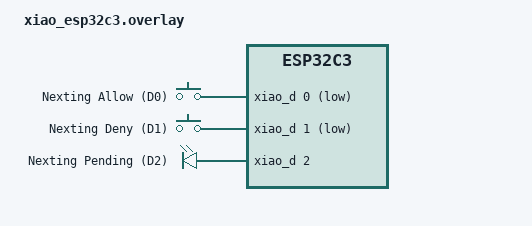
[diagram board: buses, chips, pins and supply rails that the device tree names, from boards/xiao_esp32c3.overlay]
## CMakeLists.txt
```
cmake_minimum_required(VERSION 3.20.0)

if(BOARD MATCHES "^xiao_ble")
  set(DTC_OVERLAY_FILE ${CMAKE_CURRENT_SOURCE_DIR}/boards/xiao_ble.overlay)
elseif(BOARD MATCHES "^xiao_esp32c3")
  set(DTC_OVERLAY_FILE ${CMAKE_CURRENT_SOURCE_DIR}/boards/xiao_esp32c3.overlay)
elseif(BOARD MATCHES "^xiao_esp32s3")
  set(DTC_OVERLAY_FILE ${CMAKE_CURRENT_SOURCE_DIR}/boards/xiao_esp32s3.overlay)
endif()

find_package(Zephyr REQUIRED HINTS $ENV{ZEPHYR_BASE})
project(nexting_device_reference)

target_sources(app PRIVATE
  src/main.c
  ${CMAKE_CURRENT_SOURCE_DIR}/../../sdk/c/src/nexting_device.c
)
target_include_directories(app PRIVATE
  ${CMAKE_CURRENT_SOURCE_DIR}/../../sdk/c/include
)
```

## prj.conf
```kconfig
CONFIG_GPIO=y
CONFIG_PRINTK=y
CONFIG_ASSERT=y
CONFIG_MAIN_STACK_SIZE=4096

CONFIG_BT=y
CONFIG_BT_PERIPHERAL=y
CONFIG_BT_DEVICE_NAME="Nexting-Device-Ref"
CONFIG_BT_MAX_CONN=1
CONFIG_BT_MAX_PAIRED=4
CONFIG_BT_SMP=y
CONFIG_BT_SMP_SC_ONLY=y
CONFIG_BT_BONDABLE=y
CONFIG_BT_BONDING_REQUIRED=y
CONFIG_BT_PRIVACY=y
CONFIG_BT_SETTINGS=y

CONFIG_SETTINGS=y
CONFIG_FLASH=y
CONFIG_FLASH_MAP=y
CONFIG_NVS=y
```

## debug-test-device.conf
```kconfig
# Developer-only bridge to the private App's DEBUG launch flag.
# Never ship a production authorization policy based on this advertised name.
CONFIG_BT_DEVICE_NAME="Nexting-Device-Sim"
```

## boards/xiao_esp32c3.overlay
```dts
#include <zephyr/dt-bindings/gpio/gpio.h>

/ {
	aliases {
		nexting-allow = &nexting_allow;
		nexting-deny = &nexting_deny;
		nexting-led = &nexting_led;
	};

	nexting_buttons {
		compatible = "gpio-keys";
		nexting_allow: allow_button {
			gpios = <&xiao_d 0 (GPIO_PULL_UP | GPIO_ACTIVE_LOW)>;
			label = "Nexting Allow (D0)";
		};
		nexting_deny: deny_button {
			gpios = <&xiao_d 1 (GPIO_PULL_UP | GPIO_ACTIVE_LOW)>;
			label = "Nexting Deny (D1)";
		};
	};

	nexting_leds {
		compatible = "gpio-leds";
		nexting_led: pending_led {
			gpios = <&xiao_d 2 GPIO_ACTIVE_HIGH>;
			label = "Nexting Pending (D2)";
		};
	};
};
```

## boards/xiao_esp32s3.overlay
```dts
#include <zephyr/dt-bindings/gpio/gpio.h>

/ {
	aliases {
		nexting-allow = &nexting_allow;
		nexting-deny = &nexting_deny;
		nexting-led = &led0;
	};

	nexting_buttons {
		compatible = "gpio-keys";
		nexting_allow: allow_button {
			gpios = <&xiao_d 0 (GPIO_PULL_UP | GPIO_ACTIVE_LOW)>;
			label = "Nexting Allow (D0)";
		};
		nexting_deny: deny_button {
			gpios = <&xiao_d 1 (GPIO_PULL_UP | GPIO_ACTIVE_LOW)>;
			label = "Nexting Deny (D1)";
		};
	};
};
```

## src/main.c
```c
#include <errno.h>
#include <stddef.h>
#include <stdint.h>
#include <string.h>

#include <zephyr/bluetooth/bluetooth.h>
#include <zephyr/bluetooth/conn.h>
#include <zephyr/bluetooth/gatt.h>
#include <zephyr/bluetooth/uuid.h>
#include <zephyr/device.h>
#include <zephyr/drivers/gpio.h>
#include <zephyr/kernel.h>
#include <zephyr/settings/settings.h>
#include <zephyr/sys/printk.h>
#include <zephyr/sys/util.h>

#if __has_include(<zephyr/version.h>)
#include <zephyr/version.h>
#else
#include <version.h>
#endif

#include "nexting_device.h"

#define NEXTING_SERVICE_UUID \
	BT_UUID_128_ENCODE(0x6eadc0de, 0x0001, 0x4a21, 0x9c5e, 0x1b7f3d9e42a0)
#define NEXTING_DOWNLINK_UUID \
	BT_UUID_128_ENCODE(0x6eadc0de, 0x0002, 0x4a21, 0x9c5e, 0x1b7f3d9e42a0)
#define NEXTING_UPLINK_UUID \
	BT_UUID_128_ENCODE(0x6eadc0de, 0x0003, 0x4a21, 0x9c5e, 0x1b7f3d9e42a0)
#define NEXTING_DEVICE_INFO_UUID \
	BT_UUID_128_ENCODE(0x6eadc0de, 0x0004, 0x4a21, 0x9c5e, 0x1b7f3d9e42a0)

#define DEVICE_INFO_JSON                                                        \
	"{\"protocol\":\"nexting-device\",\"spec\":\"0.2.0-experimental.2\","      \
	"\"wire\":[1],\"profiles\":[\"approval/1\"],\"model\":\"" CONFIG_BOARD \
	"\",\"fw\":\"0.2.0\",\"max_message_bytes\":4096,"                      \
	"\"max_summary_bytes\":240,\"display_name\":\"Nexting Reference\","    \
	"\"button_count\":2,\"approval_button_count\":2,"                      \
	"\"custom_button_count\":0}"

#define UPLINK_FRAME_CAPACITY 384U
#define ADVERTISING_RETRY_DELAY K_MSEC(100)

#if ZEPHYR_VERSION_CODE >= ZEPHYR_VERSION(4, 3, 0)
#define NEXTING_CONNECTABLE_ADV_OPTION BT_LE_ADV_OPT_CONN
#else
#define NEXTING_CONNECTABLE_ADV_OPTION BT_LE_ADV_OPT_CONNECTABLE
#endif

#define NEXTING_CONNECTABLE_ADV_PARAMS                                        \
	BT_LE_ADV_PARAM(NEXTING_CONNECTABLE_ADV_OPTION,                         \
			BT_GAP_ADV_FAST_INT_MIN_2, BT_GAP_ADV_FAST_INT_MAX_2, NULL)

#if DT_NODE_EXISTS(DT_ALIAS(nexting_allow))
#define ALLOW_NODE DT_ALIAS(nexting_allow)
#elif DT_NODE_EXISTS(DT_ALIAS(sw0))
#define ALLOW_NODE DT_ALIAS(sw0)
#else
#error "Board needs a nexting-allow or sw0 alias"
#endif

#if DT_NODE_EXISTS(DT_ALIAS(nexting_deny))
#define DENY_NODE DT_ALIAS(nexting_deny)
#elif DT_NODE_EXISTS(DT_ALIAS(sw1))
#define DENY_NODE DT_ALIAS(sw1)
#else
#error "Board needs a nexting-deny or sw1 alias"
#endif

#if DT_NODE_EXISTS(DT_ALIAS(nexting_led))
#define PENDING_LED_NODE DT_ALIAS(nexting_led)
#elif DT_NODE_EXISTS(DT_ALIAS(led0))
#define PENDING_LED_NODE DT_ALIAS(led0)
#else
#error "Board needs a nexting-led or led0 alias"
#endif

static const struct gpio_dt_spec allow_button = GPIO_DT_SPEC_GET(ALLOW_NODE, gpios);
static const struct gpio_dt_spec deny_button = GPIO_DT_SPEC_GET(DENY_NODE, gpios);
static const struct gpio_dt_spec pending_led = GPIO_DT_SPEC_GET(PENDING_LED_NODE, gpios);

static struct bt_uuid_128 service_uuid = BT_UUID_INIT_128(NEXTING_SERVICE_UUID);
static struct bt_uuid_128 downlink_uuid = BT_UUID_INIT_128(NEXTING_DOWNLINK_UUID);
static struct bt_uuid_128 uplink_uuid = BT_UUID_INIT_128(NEXTING_UPLINK_UUID);
static struct bt_uuid_128 device_info_uuid = BT_UUID_INIT_128(NEXTING_DEVICE_INFO_UUID);

static uint8_t stream_storage[NEXTING_DEVICE_DEFAULT_MAX_MESSAGE_BYTES];
static nexting_device_stream_t stream;
static nexting_device_state_t approval_state;
static struct bt_conn *current_connection;
static bool notifications_enabled;
static char uplink_frame[UPLINK_FRAME_CAPACITY];
static char uplink_chunk[UPLINK_FRAME_CAPACITY];
static size_t uplink_frame_length;
static size_t uplink_frame_offset;
static size_t uplink_chunk_length;
static uint32_t uplink_generation = 1U;
static bool uplink_notification_in_flight;
static bool uplink_resync_required;
static bool uplink_frame_has_resync_prefix;
static bool bond_reset_in_progress;
static bool bond_reset_unpair_succeeded;
K_MUTEX_DEFINE(app_mutex);

static void bond_reset_work_handler(struct k_work *work);
static void bond_reset_led_off_handler(struct k_work *work);
static void advertising_work_handler(struct k_work *work);
K_WORK_DEFINE(bond_reset_work, bond_reset_work_handler);
K_WORK_DELAYABLE_DEFINE(bond_reset_led_off_work, bond_reset_led_off_handler);
K_WORK_DELAYABLE_DEFINE(advertising_work, advertising_work_handler);

static void set_pending_led(bool pending)
{
	(void)gpio_pin_set_dt(&pending_led, pending ? 1 : 0);
}

static void clear_uplink_locked(void)
{
	if (uplink_frame_length != 0U &&
	    (uplink_frame_offset != 0U || uplink_notification_in_flight)) {
		uplink_resync_required = true;
	}
	uplink_frame_length = 0U;
	uplink_frame_offset = 0U;
	uplink_chunk_length = 0U;
	uplink_notification_in_flight = false;
	uplink_frame_has_resync_prefix = false;
	uplink_generation++;
	if (uplink_generation == 0U) {
		uplink_generation = 1U;
	}
}

static void clear_volatile_state_locked(void)
{
	nexting_device_stream_reset(&stream);
	nexting_device_state_disconnect(&approval_state);
	clear_uplink_locked();
	uplink_resync_required = false;
	set_pending_led(false);
}

static ssize_t read_device_info(struct bt_conn *conn,
				const struct bt_gatt_attr *attr, void *buffer,
				uint16_t length, uint16_t offset)
{
	const char *value = attr->user_data;

	return bt_gatt_attr_read(conn, attr, buffer, length, offset, value,
				 strlen(value));
}

static void receive_message(const nexting_device_message_t *message, void *context)
{
	ARG_UNUSED(context);

	if (message->type == NEXTING_DEVICE_MESSAGE_PRESENT) {
		clear_uplink_locked();
		if (nexting_device_state_on_present(&approval_state, message,
						     k_uptime_get()) == NEXTING_DEVICE_OK) {
			set_pending_led(true);
			printk("Approval pending: %s\n", message->summary);
		}
		return;
	}

	if (message->type == NEXTING_DEVICE_MESSAGE_RESOLVED &&
	    nexting_device_state_on_resolved(&approval_state, message) == NEXTING_DEVICE_OK) {
		clear_uplink_locked();
		set_pending_led(false);
		printk("Approval resolved\n");
	}
}

static ssize_t write_downlink(struct bt_conn *conn,
			      const struct bt_gatt_attr *attr, const void *buffer,
			      uint16_t length, uint16_t offset, uint8_t flags)
{
	nexting_device_result_t result;

	ARG_UNUSED(attr);
	ARG_UNUSED(flags);
	if (offset != 0U) {
		return BT_GATT_ERR(BT_ATT_ERR_INVALID_OFFSET);
	}

	k_mutex_lock(&app_mutex, K_FOREVER);
	if (bond_reset_in_progress || conn != current_connection) {
		k_mutex_unlock(&app_mutex);
		return BT_GATT_ERR(BT_ATT_ERR_AUTHORIZATION);
	}
	result = nexting_device_stream_push(&stream, buffer, length,
					 receive_message, NULL);
	k_mutex_unlock(&app_mutex);

	if (result == NEXTING_DEVICE_MESSAGE_TOO_LARGE) {
		printk("Dropped oversized message\n");
	} else if (result == NEXTING_DEVICE_BAD_MESSAGE) {
		printk("Dropped malformed message\n");
	}
	return length;
}

static void subscription_changed(const struct bt_gatt_attr *attr, uint16_t value)
{
	ARG_UNUSED(attr);

	k_mutex_lock(&app_mutex, K_FOREVER);
	notifications_enabled = !bond_reset_in_progress &&
		(value == BT_GATT_CCC_NOTIFY);
	if (!notifications_enabled) {
		clear_volatile_state_locked();
	}
	k_mutex_unlock(&app_mutex);
}

BT_GATT_SERVICE_DEFINE(nexting_service,
	BT_GATT_PRIMARY_SERVICE(&service_uuid),
	BT_GATT_CHARACTERISTIC(&downlink_uuid.uuid,
		BT_GATT_CHRC_WRITE | BT_GATT_CHRC_WRITE_WITHOUT_RESP,
		BT_GATT_PERM_WRITE_ENCRYPT, NULL, write_downlink, NULL),
	BT_GATT_CHARACTERISTIC(&uplink_uuid.uuid, BT_GATT_CHRC_NOTIFY,
		BT_GATT_PERM_NONE, NULL, NULL, NULL),
	BT_GATT_CCC(subscription_changed,
		BT_GATT_PERM_READ_ENCRYPT | BT_GATT_PERM_WRITE_ENCRYPT),
	BT_GATT_CHARACTERISTIC(&device_info_uuid.uuid, BT_GATT_CHRC_READ,
		BT_GATT_PERM_READ, read_device_info, NULL, DEVICE_INFO_JSON),
);

static const struct bt_data advertising_data[] = {
	BT_DATA_BYTES(BT_DATA_FLAGS, BT_LE_AD_GENERAL | BT_LE_AD_NO_BREDR),
	BT_DATA_BYTES(BT_DATA_UUID128_ALL, NEXTING_SERVICE_UUID),
};

static const struct bt_data scan_response[] = {
	BT_DATA(BT_DATA_NAME_COMPLETE, CONFIG_BT_DEVICE_NAME,
		sizeof(CONFIG_BT_DEVICE_NAME) - 1),
};

static int start_advertising(void)
{
	const int error = bt_le_adv_start(NEXTING_CONNECTABLE_ADV_PARAMS,
					  advertising_data,
					  ARRAY_SIZE(advertising_data), scan_response,
					  ARRAY_SIZE(scan_response));

	return error == -EALREADY ? 0 : error;
}

static void schedule_advertising(void)
{
	(void)k_work_reschedule(&advertising_work, ADVERTISING_RETRY_DELAY);
}

static void advertising_work_handler(struct k_work *work)
{
	bool can_advertise;
	int error;

	ARG_UNUSED(work);
	k_mutex_lock(&app_mutex, K_FOREVER);
	can_advertise = !bond_reset_in_progress && current_connection == NULL;
	k_mutex_unlock(&app_mutex);
	if (!can_advertise) {
		return;
	}

	error = start_advertising();
	if (error != 0) {
		printk("Advertising start deferred: %d\n", error);
		(void)k_work_reschedule(&advertising_work,
					ADVERTISING_RETRY_DELAY);
	}
}

static void bond_reset_led_off_handler(struct k_work *work)
{
	ARG_UNUSED(work);

	k_mutex_lock(&app_mutex, K_FOREVER);
	if (approval_state.phase == NEXTING_DEVICE_PHASE_IDLE) {
		set_pending_led(false);
	}
	k_mutex_unlock(&app_mutex);
}

static bool complete_bond_reset_locked(void)
{
	if (!bond_reset_in_progress || !bond_reset_unpair_succeeded ||
	    current_connection != NULL) {
		return false;
	}
	bond_reset_in_progress = false;
	bond_reset_unpair_succeeded = false;
	set_pending_led(true);
	return true;
}

static void publish_bond_reset_success(void)
{
	printk("All bonds cleared; ready to pair again\n");
	(void)k_work_reschedule(&bond_reset_led_off_work, K_SECONDS(1));
	schedule_advertising();
}

static void bond_reset_work_handler(struct k_work *work)
{
	struct bt_conn *connection = NULL;
	bool reset_complete;
	int error;

	ARG_UNUSED(work);
	k_mutex_lock(&app_mutex, K_FOREVER);
	if (current_connection != NULL) {
		connection = bt_conn_ref(current_connection);
	}
	bond_reset_in_progress = true;
	bond_reset_unpair_succeeded = false;
	notifications_enabled = false;
	clear_volatile_state_locked();
	k_mutex_unlock(&app_mutex);

	error = bt_le_adv_stop();
	if (error != 0 && error != -EALREADY) {
		printk("Advertising stop failed during bond reset: %d\n", error);
	}

	if (connection != NULL) {
		error = bt_conn_disconnect(connection,
					   BT_HCI_ERR_REMOTE_USER_TERM_CONN);
		if (error != 0 && error != -ENOTCONN) {
			printk("Bond reset disconnect failed: %d\n", error);
		}
		bt_conn_unref(connection);
	}

	error = bt_unpair(BT_ID_DEFAULT, BT_ADDR_LE_ANY);
	if (error != 0) {
		printk("Bond reset failed: %d\n", error);
		return;
	}

	k_mutex_lock(&app_mutex, K_FOREVER);
	bond_reset_unpair_succeeded = true;
	reset_complete = complete_bond_reset_locked();
	k_mutex_unlock(&app_mutex);
	if (reset_complete) {
		publish_bond_reset_success();
	}
}

static void connected(struct bt_conn *conn, uint8_t error)
{
	bool reject_connection;
	int disconnect_error;
	int security_error;

	if (error != 0U) {
		printk("Connection failed: %u\n", error);
		schedule_advertising();
		return;
	}

	k_mutex_lock(&app_mutex, K_FOREVER);
	reject_connection = bond_reset_in_progress;
	if (!reject_connection) {
		if (current_connection != NULL) {
			bt_conn_unref(current_connection);
		}
		current_connection = bt_conn_ref(conn);
		notifications_enabled = false;
		clear_volatile_state_locked();
	}
	k_mutex_unlock(&app_mutex);
	if (reject_connection) {
		security_error = bt_conn_disconnect(
			conn, BT_HCI_ERR_REMOTE_USER_TERM_CONN);
		if (security_error != 0 && security_error != -ENOTCONN) {
			printk("Connection rejection failed during bond reset: %d\n",
			       security_error);
		}
		return;
	}

	security_error = bt_conn_set_security(conn, BT_SECURITY_L2);
	if (security_error != 0) {
		printk("Could not request encrypted bonding: %d\n", security_error);
		disconnect_error = bt_conn_disconnect(
			conn, BT_HCI_ERR_AUTH_FAIL);
		if (disconnect_error != 0 && disconnect_error != -ENOTCONN) {
			printk("Security request disconnect failed: %d\n",
			       disconnect_error);
		}
	}
}

static void disconnected(struct bt_conn *conn, uint8_t reason)
{
	bool reset_complete;
	bool should_resume_advertising;

	k_mutex_lock(&app_mutex, K_FOREVER);
	clear_volatile_state_locked();
	notifications_enabled = false;
	if (current_connection == conn) {
		bt_conn_unref(current_connection);
		current_connection = NULL;
	}
	reset_complete = complete_bond_reset_locked();
	should_resume_advertising = !bond_reset_in_progress && !reset_complete;
	k_mutex_unlock(&app_mutex);
	printk("Disconnected: %u\n", reason);
	if (reset_complete) {
		publish_bond_reset_success();
		return;
	}
	if (!should_resume_advertising) {
		return;
	}
	schedule_advertising();
}

static void security_changed(struct bt_conn *conn, bt_security_t level,
			     enum bt_security_err error)
{
	int disconnect_error;

	printk("Security level %u, error %u\n", level, error);
	if (error == BT_SECURITY_ERR_SUCCESS && level >= BT_SECURITY_L2) {
		return;
	}
	disconnect_error = bt_conn_disconnect(conn, BT_HCI_ERR_AUTH_FAIL);
	if (disconnect_error != 0 && disconnect_error != -ENOTCONN) {
		printk("Unsecured peer disconnect failed: %d\n", disconnect_error);
	}
}

BT_CONN_CB_DEFINE(connection_callbacks) = {
	.connected = connected,
	.disconnected = disconnected,
	.security_changed = security_changed,
};

static bool queue_uplink_locked(const nexting_device_message_t *message)
{
	size_t encoded_length = 0U;
	const size_t prefix_length = uplink_resync_required ? 1U : 0U;

	if (current_connection == NULL || !notifications_enabled ||
	    uplink_frame_length != 0U || uplink_notification_in_flight) {
		return false;
	}
	if (uplink_resync_required) {
		uplink_frame[0] = '\n';
	}
	if (nexting_device_encode(message, uplink_frame + prefix_length,
				  sizeof(uplink_frame) - prefix_length,
				  &encoded_length) != NEXTING_DEVICE_OK) {
		uplink_frame_length = 0U;
		uplink_frame_has_resync_prefix = false;
		return false;
	}
	uplink_frame_length = prefix_length + encoded_length;
	uplink_frame_offset = 0U;
	uplink_frame_has_resync_prefix = uplink_resync_required;
	approval_state.next_retry_ms = UINT64_MAX;
	return true;
}

static void notification_sent(struct bt_conn *conn, void *user_data)
{
	const uint32_t generation = (uint32_t)POINTER_TO_UINT(user_data);

	k_mutex_lock(&app_mutex, K_FOREVER);
	if (generation != uplink_generation || !uplink_notification_in_flight ||
	    conn != current_connection) {
		k_mutex_unlock(&app_mutex);
		return;
	}

	uplink_notification_in_flight = false;
	if (uplink_frame_has_resync_prefix && uplink_frame_offset == 0U) {
		uplink_resync_required = false;
		uplink_frame_has_resync_prefix = false;
	}
	uplink_frame_offset += uplink_chunk_length;
	uplink_chunk_length = 0U;
	if (uplink_frame_offset >= uplink_frame_length) {
		uplink_frame_length = 0U;
		uplink_frame_offset = 0U;
		if (approval_state.phase == NEXTING_DEVICE_PHASE_WAITING_RESOLUTION) {
			approval_state.next_retry_ms =
				(uint64_t)k_uptime_get() + NEXTING_DEVICE_ANSWER_RETRY_MS;
		}
	}
	k_mutex_unlock(&app_mutex);
}

static void pump_uplink(void)
{
	struct bt_gatt_notify_params params = { 0 };
	struct bt_conn *connection;
	uint32_t generation;
	int error;

	k_mutex_lock(&app_mutex, K_FOREVER);
	if (current_connection == NULL || !notifications_enabled ||
	    uplink_frame_length == 0U || uplink_notification_in_flight) {
		k_mutex_unlock(&app_mutex);
		return;
	}

	const uint16_t payload_bytes = bt_gatt_get_mtu(current_connection) - 3U;
	const size_t remaining = uplink_frame_length - uplink_frame_offset;
	uplink_chunk_length = MIN(remaining, (size_t)payload_bytes);
	memcpy(uplink_chunk, uplink_frame + uplink_frame_offset,
	       uplink_chunk_length);
	uplink_notification_in_flight = true;
	generation = uplink_generation;
	connection = bt_conn_ref(current_connection);
	params.attr = &nexting_service.attrs[4];
	params.data = uplink_chunk;
	params.len = (uint16_t)uplink_chunk_length;
	params.func = notification_sent;
	params.user_data = UINT_TO_POINTER(generation);
	k_mutex_unlock(&app_mutex);

	error = bt_gatt_notify_cb(connection, &params);
	bt_conn_unref(connection);
	if (error == 0) {
		return;
	}

	k_mutex_lock(&app_mutex, K_FOREVER);
	if (generation == uplink_generation && uplink_notification_in_flight) {
		uplink_notification_in_flight = false;
		uplink_chunk_length = 0U;
	}
	k_mutex_unlock(&app_mutex);
	printk("Answer notification deferred: %d\n", error);
}

static void choose(nexting_device_choice_t choice)
{
	nexting_device_message_t answer = { 0 };

	k_mutex_lock(&app_mutex, K_FOREVER);
	if (nexting_device_state_choose(&approval_state, choice, k_uptime_get(),
					&answer) == NEXTING_DEVICE_OK) {
		(void)queue_uplink_locked(&answer);
	}
	k_mutex_unlock(&app_mutex);
}

static int configure_gpio(void)
{
	if (!gpio_is_ready_dt(&allow_button) || !gpio_is_ready_dt(&deny_button) ||
	    !gpio_is_ready_dt(&pending_led)) {
		return -ENODEV;
	}
	if (gpio_pin_configure_dt(&allow_button, GPIO_INPUT) != 0 ||
	    gpio_pin_configure_dt(&deny_button, GPIO_INPUT) != 0 ||
	    gpio_pin_configure_dt(&pending_led, GPIO_OUTPUT_INACTIVE) != 0) {
		return -EIO;
	}
	return 0;
}

int main(void)
{
	bool allow_was_pressed = false;
	bool deny_was_pressed = false;
	bool chord_active = false;
	bool bond_reset_submitted = false;
	int64_t both_pressed_since = -1;
	const int64_t bond_reset_hold_ms =
		k_ticks_to_ms_floor64(K_SECONDS(3).ticks);
	int error;

	nexting_device_stream_init(&stream, stream_storage, sizeof(stream_storage));
	nexting_device_state_init(&approval_state);
	if (configure_gpio() != 0) {
		printk("GPIO configuration failed\n");
		return 0;
	}

	error = bt_enable(NULL);
	if (error != 0) {
		printk("Bluetooth initialization failed: %d\n", error);
		return 0;
	}
	if (IS_ENABLED(CONFIG_SETTINGS)) {
		error = settings_load();
		if (error != 0) {
			printk("Bond settings load failed: %d\n", error);
		}
	}
	error = start_advertising();
	if (error != 0) {
		printk("Advertising failed: %d\n", error);
		return 0;
	}
	printk("Nexting Device Protocol Experimental 0.2 ready on %s\n", CONFIG_BOARD);

	for (;;) {
		const bool allow_pressed = gpio_pin_get_dt(&allow_button) > 0;
		const bool deny_pressed = gpio_pin_get_dt(&deny_button) > 0;
		const bool both_pressed = allow_pressed && deny_pressed;
		const int64_t now_ms = k_uptime_get();
		nexting_device_message_t retry = { 0 };

		if (both_pressed) {
			if (!chord_active) {
				chord_active = true;
				bond_reset_submitted = false;
				both_pressed_since = now_ms;
			} else if (!bond_reset_submitted &&
				   now_ms - both_pressed_since >= bond_reset_hold_ms) {
				bond_reset_submitted = true;
				(void)k_work_submit(&bond_reset_work);
			}
		} else if (chord_active) {
			if (!allow_pressed && !deny_pressed) {
				if (!bond_reset_submitted) {
					printk("Short two-button press ignored\n");
				}
				chord_active = false;
				both_pressed_since = -1;
			}
		} else if (allow_was_pressed && !allow_pressed) {
			choose(NEXTING_DEVICE_CHOICE_ALLOW);
		} else if (deny_was_pressed && !deny_pressed) {
			choose(NEXTING_DEVICE_CHOICE_DENY);
		}
		allow_was_pressed = allow_pressed;
		deny_was_pressed = deny_pressed;

		k_mutex_lock(&app_mutex, K_FOREVER);
		if (nexting_device_state_tick(&approval_state, (uint64_t)now_ms)) {
			clear_uplink_locked();
			set_pending_led(false);
		} else if (nexting_device_state_retry_answer(&approval_state,
							(uint64_t)now_ms, &retry)) {
			(void)queue_uplink_locked(&retry);
		}
		k_mutex_unlock(&app_mutex);
		pump_uplink();

		k_sleep(K_MSEC(20));
	}
	return 0;
}
```
